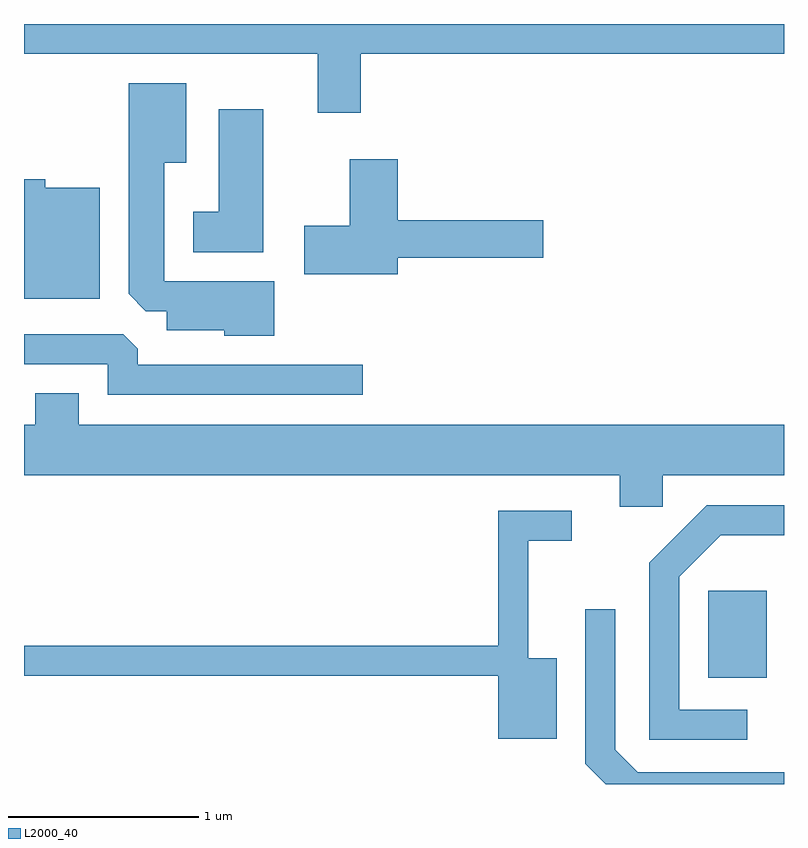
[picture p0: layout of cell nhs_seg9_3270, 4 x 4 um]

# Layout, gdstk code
import gdstk
lib = gdstk.Library(unit=1e-6, precision=1e-09)
def R(c, l, rs):  # rectangles x0, y0, x1, y1
    for r in rs: c.add(gdstk.rectangle(r[:2], r[2:], *l))
def P(c, l, *ps):  # polygons
    for p in ps: c.add(gdstk.Polygon(p, *l))
L2000_40 = (2000, 40)

nhs_seg9_3270 = lib.new_cell('nhs_seg9_3270')
R(nhs_seg9_3270, L2000_40, [(285.211,1972.991,285.519,1973.449)])
P(nhs_seg9_3270, L2000_40, [(283.384,1976.276),(285.611,1976.276),(285.611,1976.432),(281.611,1976.432),(281.611,1976.276),(283.156,1976.276),(283.156,1975.966),(283.384,1975.966)],
  [(282.929,1975.079),(282.349,1975.079),(282.349,1975.701),(282.464,1975.701),(282.464,1976.119),(282.161,1976.119),(282.161,1975.012),(282.252,1974.921),(282.361,1974.921),(282.361,1974.821),(282.666,1974.821),(282.666,1974.791),(282.929,1974.791)],
  [(282.869,1975.984),(282.636,1975.984),(282.636,1975.444),(282.501,1975.444),(282.501,1975.231),(282.869,1975.231)],
  [(283.579,1975.201),(284.344,1975.201),(284.344,1975.399),(283.579,1975.399),(283.579,1975.719),(283.326,1975.719),(283.326,1975.369),(283.086,1975.369),(283.086,1975.116),(283.579,1975.116)],
  [(282.009,1975.569),(281.724,1975.569),(281.724,1975.614),(281.611,1975.614),(281.611,1974.986),(282.009,1974.986)],
  [(283.393,1974.639),(282.209,1974.639),(282.209,1974.724),(282.134,1974.799),(281.611,1974.799),(281.611,1974.641),(282.051,1974.641),(282.051,1974.481),(283.393,1974.481)],
  [(284.974,1974.056),(285.611,1974.056),(285.611,1974.324),(281.899,1974.324),(281.899,1974.489),(281.671,1974.489),(281.671,1974.324),(281.611,1974.324),(281.611,1974.056),(284.746,1974.056),(284.746,1973.891),(284.974,1973.891)],
  [(285.418,1972.824),(285.059,1972.824),(285.059,1973.524),(285.277,1973.741),(285.611,1973.741),(285.611,1973.899),(285.204,1973.899),(284.901,1973.597),(284.901,1972.666),(285.418,1972.666)],
  [(284.414,1973.094),(284.264,1973.094),(284.264,1973.711),(284.493,1973.711),(284.493,1973.869),(284.106,1973.869),(284.106,1973.159),(281.611,1973.159),(281.611,1973.001),(284.106,1973.001),(284.106,1972.671),(284.414,1972.671)],
  [(285.611,1972.494),(284.842,1972.494),(284.724,1972.612),(284.724,1973.353),(284.566,1973.353),(284.566,1972.539),(284.673,1972.432),(285.611,1972.432)])

lib.write_gds('nhs_seg9_3270.gds')
